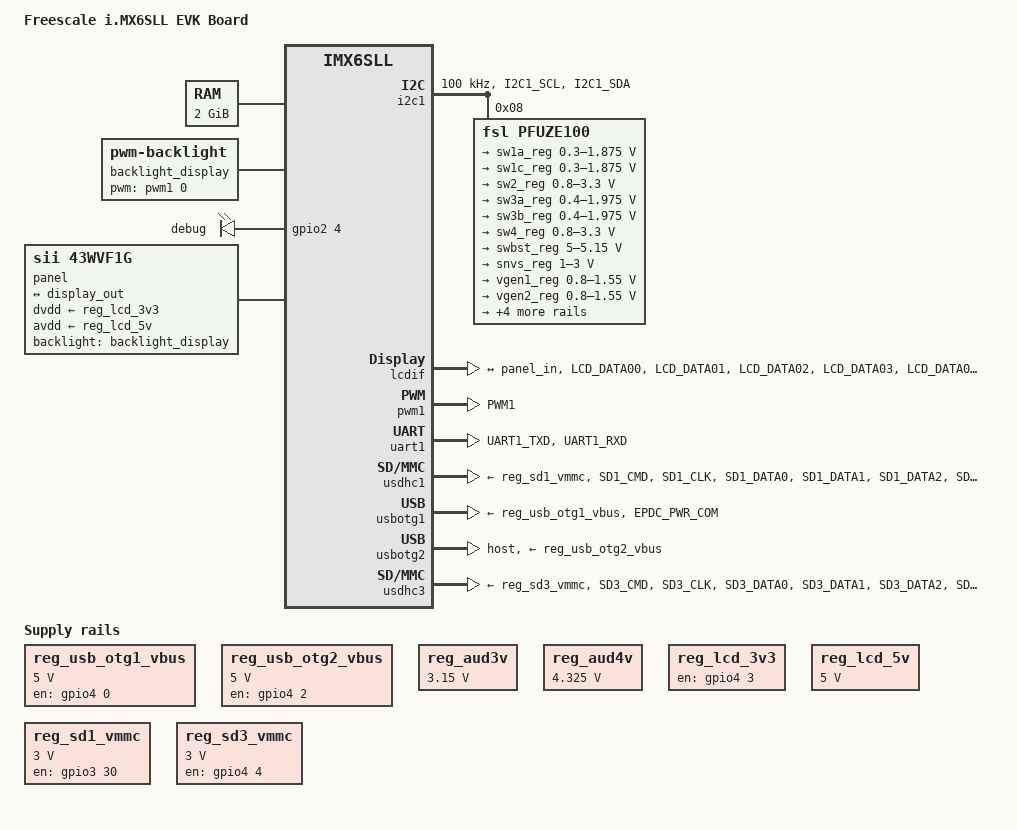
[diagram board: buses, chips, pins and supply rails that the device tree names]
// SPDX-License-Identifier: (GPL-2.0 OR MIT)
/*
 * Copyright 2016 Freescale Semiconductor, Inc.
 * Copyright 2017-2018 NXP.
 *
 */

/dts-v1/;

#include <dt-bindings/gpio/gpio.h>
#include <dt-bindings/input/input.h>
#include "imx6sll.dtsi"

/ {
	model = "Freescale i.MX6SLL EVK Board";
	compatible = "fsl,imx6sll-evk", "fsl,imx6sll";

	chosen {
		stdout-path = &uart1;
	};

	memory@80000000 {
		device_type = "memory";
		reg = <0x80000000 0x80000000>;
	};

	backlight_display: backlight-display {
		compatible = "pwm-backlight";
		pwms = <&pwm1 0 5000000>;
		brightness-levels = <0 4 8 16 32 64 128 255>;
		default-brightness-level = <6>;
		status = "okay";
	};

	leds {
		compatible = "gpio-leds";
		pinctrl-names = "default";
		pinctrl-0 = <&pinctrl_led>;

		user {
			label = "debug";
			gpios = <&gpio2 4 GPIO_ACTIVE_HIGH>;
			linux,default-trigger = "heartbeat";
		};
	};

	reg_usb_otg1_vbus: regulator-otg1-vbus {
		compatible = "regulator-fixed";
		pinctrl-names = "default";
		pinctrl-0 = <&pinctrl_usb_otg1_vbus>;
		regulator-name = "usb_otg1_vbus";
		regulator-min-microvolt = <5000000>;
		regulator-max-microvolt = <5000000>;
		gpio = <&gpio4 0 GPIO_ACTIVE_HIGH>;
		enable-active-high;
	};

	reg_usb_otg2_vbus: regulator-otg2-vbus {
		compatible = "regulator-fixed";
		pinctrl-names = "default";
		pinctrl-0 = <&pinctrl_usb_otg2_vbus>;
		regulator-name = "usb_otg2_vbus";
		regulator-min-microvolt = <5000000>;
		regulator-max-microvolt = <5000000>;
		gpio = <&gpio4 2 GPIO_ACTIVE_HIGH>;
		enable-active-high;
	};

	reg_aud3v: regulator-aud3v {
		compatible = "regulator-fixed";
		regulator-name = "wm8962-supply-3v15";
		regulator-min-microvolt = <3150000>;
		regulator-max-microvolt = <3150000>;
		regulator-boot-on;
	};

	reg_aud4v: regulator-aud4v {
		compatible = "regulator-fixed";
		regulator-name = "wm8962-supply-4v2";
		regulator-min-microvolt = <4325000>;
		regulator-max-microvolt = <4325000>;
		regulator-boot-on;
	};

	reg_lcd_3v3: regulator-lcd-3v3 {
		compatible = "regulator-fixed";
		pinctrl-names = "default";
		pinctrl-0 = <&pinctrl_reg_lcd_3v3>;
		regulator-name = "lcd-3v3";
		gpio = <&gpio4 3 GPIO_ACTIVE_HIGH>;
		enable-active-high;
	};

	reg_lcd_5v: regulator-lcd-5v {
		compatible = "regulator-fixed";
		regulator-name = "lcd-5v0";
		regulator-min-microvolt = <5000000>;
		regulator-max-microvolt = <5000000>;
	};

	reg_sd1_vmmc: regulator-sd1-vmmc {
		compatible = "regulator-fixed";
		pinctrl-names = "default";
		pinctrl-0 = <&pinctrl_reg_sd1_vmmc>;
		regulator-name = "SD1_SPWR";
		regulator-min-microvolt = <3000000>;
		regulator-max-microvolt = <3000000>;
		gpio = <&gpio3 30 GPIO_ACTIVE_HIGH>;
		enable-active-high;
	};

	reg_sd3_vmmc: regulator-sd3-vmmc {
		compatible = "regulator-fixed";
		pinctrl-names = "default";
		pinctrl-0 = <&pinctrl_reg_sd3_vmmc>;
		regulator-name = "SD3_WIFI";
		regulator-min-microvolt = <3000000>;
		regulator-max-microvolt = <3000000>;
		gpio = <&gpio4 4 GPIO_ACTIVE_HIGH>;
		enable-active-high;
	};

	panel {
		compatible = "sii,43wvf1g";
		backlight = <&backlight_display>;
		dvdd-supply = <&reg_lcd_3v3>;
		avdd-supply = <&reg_lcd_5v>;

		port {
			panel_in: endpoint {
				remote-endpoint = <&display_out>;
			};
		};
	};
};

&cpu0 {
	arm-supply = <&sw1a_reg>;
	soc-supply = <&sw1c_reg>;
};

&i2c1 {
	clock-frequency = <100000>;
	pinctrl-names = "default";
	pinctrl-0 = <&pinctrl_i2c1>;
	status = "okay";

	pfuze100: pmic@8 {
		compatible = "fsl,pfuze100";
		reg = <0x08>;

		regulators {
			sw1a_reg: sw1ab {
				regulator-min-microvolt = <300000>;
				regulator-max-microvolt = <1875000>;
				regulator-boot-on;
				regulator-always-on;
				regulator-ramp-delay = <6250>;
			};

			sw1c_reg: sw1c {
				regulator-min-microvolt = <300000>;
				regulator-max-microvolt = <1875000>;
				regulator-boot-on;
				regulator-always-on;
				regulator-ramp-delay = <6250>;
			};

			sw2_reg: sw2 {
				regulator-min-microvolt = <800000>;
				regulator-max-microvolt = <3300000>;
				regulator-boot-on;
				regulator-always-on;
			};

			sw3a_reg: sw3a {
				regulator-min-microvolt = <400000>;
				regulator-max-microvolt = <1975000>;
				regulator-boot-on;
				regulator-always-on;
			};

			sw3b_reg: sw3b {
				regulator-min-microvolt = <400000>;
				regulator-max-microvolt = <1975000>;
				regulator-boot-on;
				regulator-always-on;
			};

			sw4_reg: sw4 {
				regulator-min-microvolt = <800000>;
				regulator-max-microvolt = <3300000>;
				regulator-always-on;
			};

			swbst_reg: swbst {
				regulator-min-microvolt = <5000000>;
				regulator-max-microvolt = <5150000>;
			};

			snvs_reg: vsnvs {
				regulator-min-microvolt = <1000000>;
				regulator-max-microvolt = <3000000>;
				regulator-boot-on;
				regulator-always-on;
			};

			vref_reg: vrefddr {
				regulator-boot-on;
				regulator-always-on;
			};

			vgen1_reg: vgen1 {
				regulator-min-microvolt = <800000>;
				regulator-max-microvolt = <1550000>;
				regulator-always-on;
			};

			vgen2_reg: vgen2 {
				regulator-min-microvolt = <800000>;
				regulator-max-microvolt = <1550000>;
			};

			vgen3_reg: vgen3 {
				regulator-min-microvolt = <1800000>;
				regulator-max-microvolt = <3300000>;
			};

			vgen4_reg: vgen4 {
				regulator-min-microvolt = <1800000>;
				regulator-max-microvolt = <3300000>;
				regulator-always-on;
			};

			vgen5_reg: vgen5 {
				regulator-min-microvolt = <1800000>;
				regulator-max-microvolt = <3300000>;
				regulator-always-on;
			};

			vgen6_reg: vgen6 {
				regulator-min-microvolt = <1800000>;
				regulator-max-microvolt = <3300000>;
				regulator-always-on;
			};
		};
	};
};

&lcdif {
	pinctrl-names = "default";
	pinctrl-0 = <&pinctrl_lcd>;
	status = "okay";

	port {
		display_out: endpoint {
			remote-endpoint = <&panel_in>;
		};
	};
};

&pwm1 {
	pinctrl-names = "default";
	pinctrl-0 = <&pinctrl_pwm1>;
	status = "okay";
};

&uart1 {
	pinctrl-names = "default";
	pinctrl-0 = <&pinctrl_uart1>;
	status = "okay";
};

&usdhc1 {
	pinctrl-names = "default", "state_100mhz", "state_200mhz";
	pinctrl-0 = <&pinctrl_usdhc1>;
	pinctrl-1 = <&pinctrl_usdhc1_100mhz>;
	pinctrl-2 = <&pinctrl_usdhc1_200mhz>;
	cd-gpios = <&gpio4 7 GPIO_ACTIVE_LOW>;
	wp-gpios = <&gpio4 22 GPIO_ACTIVE_HIGH>;
	keep-power-in-suspend;
	wakeup-source;
	vmmc-supply = <&reg_sd1_vmmc>;
	status = "okay";
};

&usbotg1 {
	vbus-supply = <&reg_usb_otg1_vbus>;
	pinctrl-names = "default";
	pinctrl-0 = <&pinctrl_usbotg1>;
	disable-over-current;
	srp-disable;
	hnp-disable;
	adp-disable;
	status = "okay";
};

&usbotg2 {
	vbus-supply = <&reg_usb_otg2_vbus>;
	dr_mode = "host";
	disable-over-current;
	status = "okay";
};

&usdhc3 {
	pinctrl-names = "default", "state_100mhz", "state_200mhz";
	pinctrl-0 = <&pinctrl_usdhc3>;
	pinctrl-1 = <&pinctrl_usdhc3_100mhz>;
	pinctrl-2 = <&pinctrl_usdhc3_200mhz>;
	cd-gpios = <&gpio3 22 GPIO_ACTIVE_LOW>;
	keep-power-in-suspend;
	wakeup-source;
	vmmc-supply = <&reg_sd3_vmmc>;
	status = "okay";
};

&wdog1 {
	pinctrl-names = "default";
	pinctrl-0 = <&pinctrl_wdog1>;
	fsl,ext-reset-output;
};

&iomuxc {
	pinctrl_reg_sd3_vmmc: sd3vmmcgrp {
		fsl,pins = <
			MX6SLL_PAD_KEY_COL6__GPIO4_IO04 0x17059
		>;
	};

	pinctrl_usb_otg1_vbus: vbus1grp {
		fsl,pins = <
			MX6SLL_PAD_KEY_COL4__GPIO4_IO00 0x17059
		>;
	};

	pinctrl_usb_otg2_vbus: vbus2grp {
		fsl,pins = <
			MX6SLL_PAD_KEY_COL5__GPIO4_IO02 0x17059
		>;
	};

	pinctrl_reg_lcd_3v3: reglcd3v3grp {
		fsl,pins = <
			MX6SLL_PAD_KEY_ROW5__GPIO4_IO03 0x17059
		>;
	};

	pinctrl_reg_sd1_vmmc: sd1vmmcgrp {
		fsl,pins = <
			MX6SLL_PAD_KEY_COL3__GPIO3_IO30 0x17059
		>;
	};

	pinctrl_uart1: uart1grp {
		fsl,pins = <
			MX6SLL_PAD_UART1_TXD__UART1_DCE_TX 0x1b0b1
			MX6SLL_PAD_UART1_RXD__UART1_DCE_RX 0x1b0b1
		>;
	};

	pinctrl_usdhc1: usdhc1grp {
		fsl,pins = <
			MX6SLL_PAD_SD1_CMD__SD1_CMD	0x17059
			MX6SLL_PAD_SD1_CLK__SD1_CLK	0x13059
			MX6SLL_PAD_SD1_DATA0__SD1_DATA0	0x17059
			MX6SLL_PAD_SD1_DATA1__SD1_DATA1	0x17059
			MX6SLL_PAD_SD1_DATA2__SD1_DATA2	0x17059
			MX6SLL_PAD_SD1_DATA3__SD1_DATA3	0x17059
		>;
	};

	pinctrl_usdhc1_100mhz: usdhc1grp_100mhz {
		fsl,pins = <
			MX6SLL_PAD_SD1_CMD__SD1_CMD	0x170b9
			MX6SLL_PAD_SD1_CLK__SD1_CLK	0x130b9
			MX6SLL_PAD_SD1_DATA0__SD1_DATA0	0x170b9
			MX6SLL_PAD_SD1_DATA1__SD1_DATA1	0x170b9
			MX6SLL_PAD_SD1_DATA2__SD1_DATA2	0x170b9
			MX6SLL_PAD_SD1_DATA3__SD1_DATA3	0x170b9
		>;
	};

	pinctrl_usdhc1_200mhz: usdhc1grp_200mhz {
		fsl,pins = <
			MX6SLL_PAD_SD1_CMD__SD1_CMD	0x170f9
			MX6SLL_PAD_SD1_CLK__SD1_CLK	0x130f9
			MX6SLL_PAD_SD1_DATA0__SD1_DATA0	0x170f9
			MX6SLL_PAD_SD1_DATA1__SD1_DATA1	0x170f9
			MX6SLL_PAD_SD1_DATA2__SD1_DATA2	0x170f9
			MX6SLL_PAD_SD1_DATA3__SD1_DATA3	0x170f9
		>;
	};

	pinctrl_usbotg1: usbotg1grp {
		fsl,pins = <
			MX6SLL_PAD_EPDC_PWR_COM__USB_OTG1_ID 0x17059
		>;
	};

	pinctrl_usdhc3: usdhc3grp {
		fsl,pins = <
			MX6SLL_PAD_SD3_CMD__SD3_CMD		0x17061
			MX6SLL_PAD_SD3_CLK__SD3_CLK		0x13061
			MX6SLL_PAD_SD3_DATA0__SD3_DATA0		0x17061
			MX6SLL_PAD_SD3_DATA1__SD3_DATA1		0x17061
			MX6SLL_PAD_SD3_DATA2__SD3_DATA2		0x17061
			MX6SLL_PAD_SD3_DATA3__SD3_DATA3		0x17061
			MX6SLL_PAD_REF_CLK_32K__GPIO3_IO22	0x17059
		>;
	};

	pinctrl_usdhc3_100mhz: usdhc3grp_100mhz {
		fsl,pins = <
			MX6SLL_PAD_SD3_CMD__SD3_CMD		0x170a1
			MX6SLL_PAD_SD3_CLK__SD3_CLK		0x130a1
			MX6SLL_PAD_SD3_DATA0__SD3_DATA0		0x170a1
			MX6SLL_PAD_SD3_DATA1__SD3_DATA1		0x170a1
			MX6SLL_PAD_SD3_DATA2__SD3_DATA2		0x170a1
			MX6SLL_PAD_SD3_DATA3__SD3_DATA3		0x170a1
			MX6SLL_PAD_REF_CLK_32K__GPIO3_IO22	0x17059
		>;
	};

	pinctrl_usdhc3_200mhz: usdhc3grp_200mhz {
		fsl,pins = <
			MX6SLL_PAD_SD3_CMD__SD3_CMD		0x170e9
			MX6SLL_PAD_SD3_CLK__SD3_CLK		0x130f9
			MX6SLL_PAD_SD3_DATA0__SD3_DATA0		0x170e9
			MX6SLL_PAD_SD3_DATA1__SD3_DATA1		0x170e9
			MX6SLL_PAD_SD3_DATA2__SD3_DATA2		0x170e9
			MX6SLL_PAD_SD3_DATA3__SD3_DATA3		0x170e9
			MX6SLL_PAD_REF_CLK_32K__GPIO3_IO22	0x17059
		>;
	};

	pinctrl_i2c1: i2c1grp {
		fsl,pins = <
			MX6SLL_PAD_I2C1_SCL__I2C1_SCL	 0x4001b8b1
			MX6SLL_PAD_I2C1_SDA__I2C1_SDA	 0x4001b8b1
		>;
	};

	pinctrl_lcd: lcdgrp {
		fsl,pins = <
			MX6SLL_PAD_LCD_DATA00__LCD_DATA00	0x79
			MX6SLL_PAD_LCD_DATA01__LCD_DATA01	0x79
			MX6SLL_PAD_LCD_DATA02__LCD_DATA02	0x79
			MX6SLL_PAD_LCD_DATA03__LCD_DATA03	0x79
			MX6SLL_PAD_LCD_DATA04__LCD_DATA04	0x79
			MX6SLL_PAD_LCD_DATA05__LCD_DATA05	0x79
			MX6SLL_PAD_LCD_DATA06__LCD_DATA06	0x79
			MX6SLL_PAD_LCD_DATA07__LCD_DATA07	0x79
			MX6SLL_PAD_LCD_DATA08__LCD_DATA08	0x79
			MX6SLL_PAD_LCD_DATA09__LCD_DATA09	0x79
			MX6SLL_PAD_LCD_DATA10__LCD_DATA10	0x79
			MX6SLL_PAD_LCD_DATA11__LCD_DATA11	0x79
			MX6SLL_PAD_LCD_DATA12__LCD_DATA12	0x79
			MX6SLL_PAD_LCD_DATA13__LCD_DATA13	0x79
			MX6SLL_PAD_LCD_DATA14__LCD_DATA14	0x79
			MX6SLL_PAD_LCD_DATA15__LCD_DATA15	0x79
			MX6SLL_PAD_LCD_DATA16__LCD_DATA16	0x79
			MX6SLL_PAD_LCD_DATA17__LCD_DATA17	0x79
			MX6SLL_PAD_LCD_DATA18__LCD_DATA18	0x79
			MX6SLL_PAD_LCD_DATA19__LCD_DATA19	0x79
			MX6SLL_PAD_LCD_DATA20__LCD_DATA20	0x79
			MX6SLL_PAD_LCD_DATA21__LCD_DATA21	0x79
			MX6SLL_PAD_LCD_DATA22__LCD_DATA22	0x79
			MX6SLL_PAD_LCD_DATA23__LCD_DATA23	0x79
			MX6SLL_PAD_LCD_CLK__LCD_CLK		0x79
			MX6SLL_PAD_LCD_ENABLE__LCD_ENABLE	0x79
			MX6SLL_PAD_LCD_HSYNC__LCD_HSYNC		0x79
			MX6SLL_PAD_LCD_VSYNC__LCD_VSYNC		0x79
			MX6SLL_PAD_LCD_RESET__LCD_RESET		0x79
		>;
	};

	pinctrl_led: ledgrp {
		fsl,pins = <
			MX6SLL_PAD_EPDC_VCOM1__GPIO2_IO04	0x17059
		>;
	};

	pinctrl_pwm1: pmw1grp {
		fsl,pins = <
			MX6SLL_PAD_PWM1__PWM1_OUT   0x110b0
		>;
	};

	pinctrl_wdog1: wdog1grp	{
		fsl,pins = <
			MX6SLL_PAD_WDOG_B__WDOG1_B   0x170b0
		>;
	};
};
